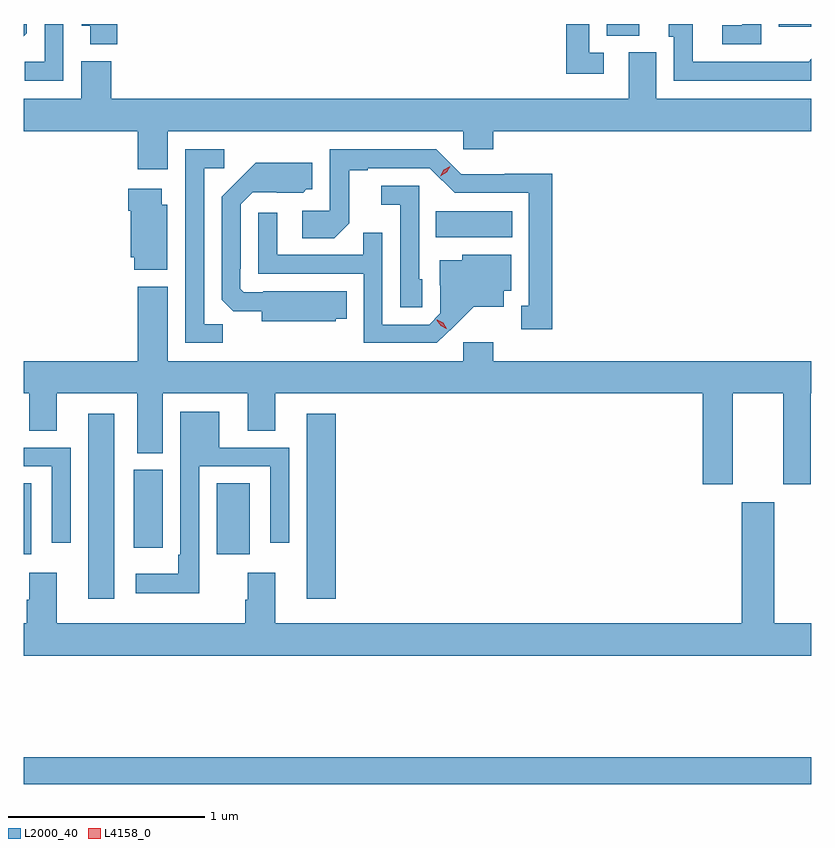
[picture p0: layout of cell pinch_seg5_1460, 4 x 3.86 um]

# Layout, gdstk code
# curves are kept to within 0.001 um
import gdstk
lib = gdstk.Library(unit=1e-6, precision=1e-09)
def R(c, l, rs):  # rectangles x0, y0, x1, y1
    for r in rs: c.add(gdstk.rectangle(r[:2], r[2:], *l))
def P(c, l, *ps):  # polygons
    for p in ps: c.add(gdstk.Polygon(p, *l))
L2000_40 = (2000, 40)
L4158_0 = (4158, 0)

pinch_seg5_1460 = lib.new_cell('pinch_seg5_1460')
R(pinch_seg5_1460, L2000_40, [(313.319,845.452,317.319,845.588), (313.646,846.393,313.78,847.333), (314.756,846.393,314.903,847.333), (313.319,846.618,313.357,846.98), (314.3,846.618,314.467,846.98), (313.877,846.651,314.026,847.047), (315.412,848.228,315.799,848.362), (316.28,849.253,316.444,849.312), (317.153,849.297,317.319,849.312)])
P(pinch_seg5_1460, L2000_40, [(313.521,849.312),(313.425,849.312),(313.425,849.12),(313.323,849.12),(313.323,849.024),(313.521,849.024)],
  [(317.319,849.135),(317.305,849.121),(317.201,849.121),(317.201,849.12),(316.717,849.12),(316.717,849.312),(316.595,849.312),(316.595,849.246),(316.62,849.246),(316.62,849.024),(317.319,849.024)],
  [(313.335,849.266),(313.335,849.312),(313.319,849.312),(313.319,849.25)],
  [(316.264,849.165),(316.191,849.165),(316.191,849.312),(316.075,849.312),(316.075,849.06),(316.264,849.06)],
  [(317.064,849.312),(316.968,849.312),(316.968,849.306),(316.866,849.306),(316.866,849.21),(317.064,849.21)],
  [(313.793,849.312),(313.613,849.312),(313.613,849.302),(313.658,849.302),(313.658,849.209),(313.793,849.209)],
  [(314.05,848.768),(315.552,848.768),(315.552,848.675),(315.704,848.675),(315.704,848.768),(317.319,848.768),(317.319,848.932),(316.531,848.932),(316.531,849.168),(316.391,849.168),(316.391,848.932),(313.763,848.932),(313.763,849.124),(313.61,849.124),(313.61,848.932),(313.319,848.932),(313.319,848.768),(313.898,848.768),(313.898,848.574),(314.05,848.574)],
  [(316.003,848.552),(315.762,848.552),(315.762,848.55),(315.54,848.55),(315.414,848.676),(314.874,848.676),(314.874,848.364),(314.733,848.364),(314.733,848.224),(314.897,848.224),(314.973,848.3),(314.973,848.568),(315.067,848.568),(315.067,848.58),(315.381,848.58),(315.507,848.454),(315.884,848.454),(315.884,847.881),(315.845,847.881),(315.845,847.761),(316.003,847.761)],
  [(314.331,847.787),(314.235,847.787),(314.235,848.58),(314.338,848.58),(314.338,848.676),(314.139,848.676),(314.139,847.692),(314.331,847.692)],
  [(314.904,847.814),(314.96,847.814),(314.96,847.954),(314.536,847.954),(314.536,847.95),(314.436,847.95),(314.418,847.968),(314.418,848.068),(314.421,848.068),(314.421,848.397),(314.481,848.457),(314.738,848.456),(314.754,848.472),(314.785,848.472),(314.785,848.608),(314.497,848.608),(314.325,848.434),(314.325,847.912),(314.384,847.853),(314.528,847.853),(314.528,847.802),(314.904,847.802)],
  [(315.342,848.016),(315.327,848.016),(315.327,848.49),(315.135,848.49),(315.135,848.393),(315.231,848.393),(315.231,847.873),(315.342,847.873)],
  [(314.047,848.394),(314.02,848.394),(314.02,848.476),(313.85,848.476),(313.85,848.363),(313.862,848.363),(313.862,848.127),(313.88,848.127),(313.88,848.063),(314.047,848.063)],
  [(315.502,847.775),(315.605,847.877),(315.757,847.877),(315.757,847.956),(315.796,847.956),(315.796,848.14),(315.546,848.14),(315.546,848.113),(315.431,848.113),(315.431,847.984),(315.435,847.984),(315.435,847.842),(315.378,847.785),(315.141,847.785),(315.141,848.252),(315.043,848.252),(315.043,848.139),(314.607,848.139),(314.607,848.353),(314.511,848.353),(314.511,848.043),(315.045,848.043),(315.045,847.692),(315.418,847.692)],
  [(316.921,847.436),(317.177,847.436),(317.177,846.975),(317.317,846.975),(317.317,847.436),(317.319,847.436),(317.319,847.6),(315.704,847.6),(315.704,847.696),(315.552,847.696),(315.552,847.6),(314.05,847.6),(314.05,847.978),(313.898,847.978),(313.898,847.6),(313.319,847.6),(313.319,847.436),(313.346,847.436),(313.346,847.246),(313.486,847.246),(313.486,847.436),(313.895,847.436),(313.895,847.132),(314.026,847.132),(314.026,847.436),(314.456,847.436),(314.456,847.246),(314.596,847.246),(314.596,847.436),(316.769,847.436),(316.769,846.975),(316.921,846.975)],
  [(314.211,847.065),(314.571,847.065),(314.571,846.678),(314.667,846.678),(314.667,847.161),(314.311,847.161),(314.311,847.342),(314.115,847.342),(314.115,846.616),(314.103,846.616),(314.103,846.52),(313.887,846.52),(313.887,846.422),(314.211,846.422)],
  [(313.557,847.161),(313.319,847.161),(313.319,847.065),(313.461,847.065),(313.461,846.678),(313.557,846.678)],
  [(317.319,846.268),(317.131,846.268),(317.131,846.883),(316.967,846.883),(316.967,846.268),(314.596,846.268),(314.596,846.526),(314.456,846.526),(314.456,846.389),(314.444,846.389),(314.444,846.268),(313.486,846.268),(313.486,846.526),(313.346,846.526),(313.346,846.389),(313.334,846.389),(313.334,846.268),(313.319,846.268),(313.319,846.104),(317.319,846.104)])
P(pinch_seg5_1460, L4158_0, [(315.466,847.764),(315.436,847.779),(315.418,847.808),(315.418,847.809),(315.419,847.809),(315.449,847.794),(315.467,847.764),(315.467,847.764)],
  [(315.434,848.54),(315.434,848.54),(315.453,848.572),(315.485,848.59),(315.485,848.59),(315.485,848.59),(315.467,848.558),(315.435,848.54)])

lib.write_gds('pinch_seg5_1460.gds')
